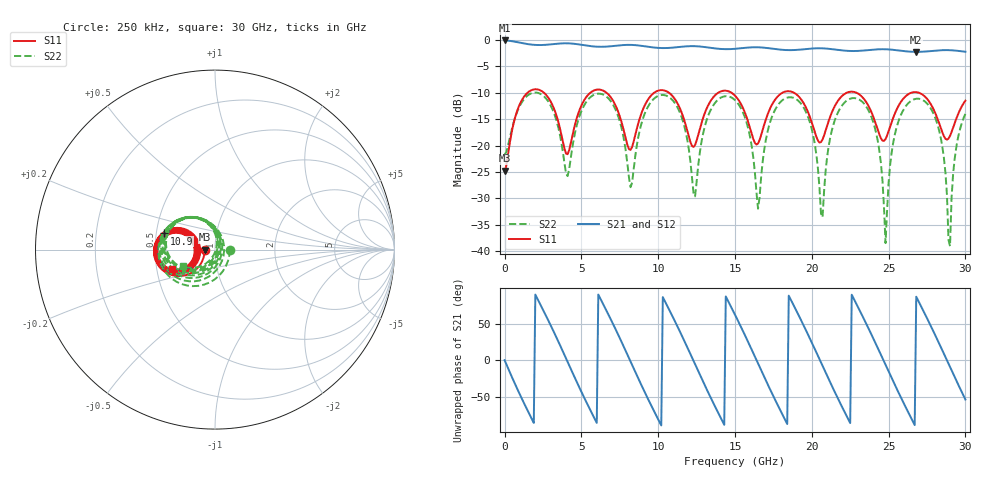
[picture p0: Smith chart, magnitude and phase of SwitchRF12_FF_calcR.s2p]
! Port 1 = P1 P2
! Port 2 = P2 P2
# hz S ri R 50
! freq  reS11  imS11  reS21  imS21  reS12  imS12  reS22  imS22
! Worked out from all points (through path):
!   301 points, 250 kHz to 30 GHz, reference 50 ohm
!   highest |S21| = -0.13 dB at 250 kHz (marker M1); lowest = -2.3 dB at 26.8 GHz (marker M2)
!   lowest |S11| = -24.8 dB at 250 kHz (marker M3), VSWR 1.12, Z = 44.5 - j0.00613 ohm
!   |S11| at or under -10 dB: 10.69 GHz to 13.92 GHz (3.226 GHz wide, 26.2 % of centre); 18.83 GHz to 22.29 GHz (3.465 GHz wide, 16.9 % of centre); 22.89 GHz to 26.5 GHz (3.604 GHz wide, 14.6 % of centre)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
!   |S22| runs from -39.0 to -10.0 dB; largest |S21 - S12| = 0
!   S11 on the Smith chart (normalised r, x): 250 kHz: 0.89, -0.00; 10.9 GHz: 0.55, +0.11; 30 GHz: 0.60, -0.14
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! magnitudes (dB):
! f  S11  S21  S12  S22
! 250 kHz  -24.8  -0.1  -0.1  -21.7
! 1.9 GHz  -9.4  -1.0  -1.0  -10.0
! 4.1 GHz  -21.6  -0.7  -0.7  -25.8
! 5.1 GHz  -11.8  -1.0  -1.0  -12.8
! 7 GHz  -11.2  -1.2  -1.2  -12.0
! 8.2 GHz  -20.8  -1.0  -1.0  -27.9
! 10.1 GHz  -9.5  -1.6  -1.6  -10.5
! 10.9 GHz  -10.5  -1.5  -1.5  -11.3
! 12.4 GHz  -19.9  -1.2  -1.2  -29.6
! 15.1 GHz  -10.9  -1.7  -1.7  -11.7
! 16.5 GHz  -19.6  -1.4  -1.4  -32.0
! 17.8 GHz  -10.7  -1.8  -1.8  -12.3
! 20.1 GHz  -16.6  -1.6  -1.6  -18.2
! 20.7 GHz  -18.9  -1.6  -1.6  -33.6
! 21.6 GHz  -12.0  -1.9  -1.9  -14.4
! 23.5 GHz  -11.6  -2.0  -2.0  -12.5
! 24.8 GHz  -18.8  -1.8  -1.8  -38.5
! 25.1 GHz  -16.4  -1.8  -1.8  -23.7
! 26.8 GHz  -9.9  -2.3  -2.3  -11.2
! 28.3 GHz  -15.9  -2.0  -2.0  -17.3
! 29 GHz  -18.2  -2.0  -2.0  -39.0
! 30 GHz  -11.5  -2.3  -2.3  -14.0
